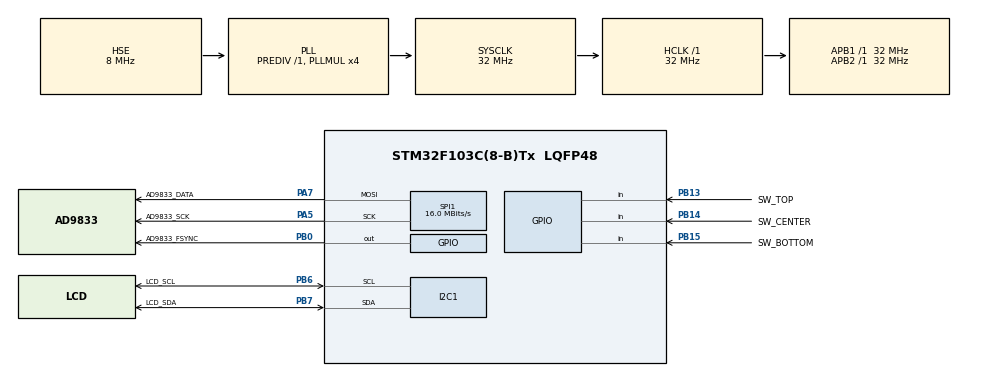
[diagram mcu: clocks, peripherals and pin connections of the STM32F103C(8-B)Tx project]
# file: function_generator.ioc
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Mcu.Family=STM32F1
Mcu.Name=STM32F103C(8-B)Tx
Mcu.Package=LQFP48
NVIC.PriorityGroup=NVIC_PRIORITYGROUP_4
PA13.Mode=Serial_Wire
PA13.Signal=SYS_JTMS-SWDIO
PA14.Mode=Serial_Wire
PA14.Signal=SYS_JTCK-SWCLK
PA5.GPIO_Label=AD9833_SCK
PA5.Mode=TX_Only_Simplex_Unidirect_Master
PA5.Signal=SPI1_SCK
PA7.GPIO_Label=AD9833_DATA
PA7.Mode=TX_Only_Simplex_Unidirect_Master
PA7.Signal=SPI1_MOSI
PB0.GPIO_Label=AD9833_FSYNC
PB0.Signal=GPIO_Output
PB13.GPIO_Label=SW_TOP
PB13.GPIO_PuPd=GPIO_NOPULL
PB13.Signal=GPIO_Input
PB14.GPIO_Label=SW_CENTER
PB14.GPIO_PuPd=GPIO_NOPULL
PB14.Signal=GPIO_Input
PB15.GPIO_Label=SW_BOTTOM
PB15.GPIO_PuPd=GPIO_NOPULL
PB15.Signal=GPIO_Input
PB6.GPIO_Label=LCD_SCL
PB6.GPIO_Pu=GPIO_PULLUP
PB6.Mode=I2C
PB6.Signal=I2C1_SCL
PB7.GPIO_Label=LCD_SDA
PB7.GPIO_Pu=GPIO_PULLUP
PB7.Mode=I2C
PB7.Signal=I2C1_SDA
PD0-OSC_IN.Mode=HSE-External-Oscillator
PD0-OSC_IN.Signal=RCC_OSC_IN
PD1-OSC_OUT.Mode=HSE-External-Oscillator
PD1-OSC_OUT.Signal=RCC_OSC_OUT
ProjectManager.HeapSize=0x200
ProjectManager.StackSize=0x400
ProjectManager.TargetToolchain=CMake
RCC.AHBFreq_Value=32000000
RCC.APB1Freq_Value=32000000
RCC.APB1TimFreq_Value=32000000
RCC.APB2Freq_Value=32000000
RCC.APB2TimFreq_Value=32000000
RCC.HCLKFreq_Value=32000000
RCC.PLLMUL=RCC_PLL_MUL4
RCC.PLLSourceVirtual=RCC_PLLSOURCE_HSE
RCC.SYSCLKFreq_VALUE=32000000
RCC.SYSCLKSource=RCC_SYSCLKSOURCE_PLLCLK
RCC.USBFreq_Value=32000000
SPI1.BaudRatePrescaler=SPI_BAUDRATEPRESCALER_2
SPI1.CLKPhase=SPI_PHASE_1EDGE
SPI1.CLKPolarity=SPI_POLARITY_HIGH
SPI1.CalculateBaudRate=16.0 MBits/s
SPI1.Direction=SPI_DIRECTION_2LINES
SPI1.Mode=SPI_MODE_MASTER
SPI1.VirtualType=VM_MASTER
board=custom

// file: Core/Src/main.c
/* USER CODE BEGIN Header */
/**
  ******************************************************************************
  * @file           : main.c
  * @brief          : Main program body
  ******************************************************************************
  * @attention
  *
  * <h2><center>&copy; Copyright (c) 2024 STMicroelectronics.
  * All rights reserved.</center></h2>
  *
  * This software component is licensed by ST under BSD 3-Clause license,
  * the "License"; You may not use this file except in compliance with the
  * License. You may obtain a copy of the License at:
  *                        opensource.org/licenses/BSD-3-Clause
  *
  ******************************************************************************
  */
/* USER CODE END Header */
#include "main.h"
#include "i2c.h"
#include "spi.h"
#include "gpio.h"

/* USER CODE BEGIN Includes */
#include <stdio.h>
#include <stdbool.h>
#include <string.h>
#include <math.h>
#include "ad9833.h"
#include "lcd.h"
/* USER CODE END Includes */

/* USER CODE BEGIN PTD */
typedef enum
{
    ST_HIGHLIGHT_WAVE = 0,
    ST_HIGHLIGHT_FREQ,
    ST_SELECT_WAVE,
    ST_SELECT_FREQ
}State;

typedef enum
{
    IDLE = 0,
    LONG_PRESS,
    QUICK_PRESS
}PressType;

typedef struct
{
    GPIO_TypeDef* port;
    GPIO_PinState old_state;
    uint16_t pin;
    uint32_t time_pressed;
    uint32_t debounce_delay;
}ButtonStruct;

/* USER CODE END PTD */

/* USER CODE BEGIN PD */
#define DEFAULT_FREQ    500 // Hz
#define MAX_FREQ_MHZ    10
#define WAVE_NAME_LEN   3
#define NUM_COLS        16
#define ROW_INACTIVE    "  "
#define ROW_HIGHLIGHT   "- "
#define ROW_SELECT      "->"
/* USER CODE END PD */

void SystemClock_Config(void);

/* USER CODE BEGIN 0 */

static bool Button_Debounce(ButtonStruct* button_ptr, GPIO_PinState expected_state)
{
    bool debounced = false;

    if(HAL_GPIO_ReadPin(button_ptr->port, button_ptr->pin) == expected_state)
    {
        HAL_Delay(button_ptr->debounce_delay);
        if(HAL_GPIO_ReadPin(button_ptr->port, button_ptr->pin) == expected_state)
        {
            debounced = true;
        }
    }
    return debounced;
}

static PressType Button_HandlePress(ButtonStruct* button_ptr)
{
    const uint32_t max_release_time = 350; // In milliseconds
    PressType return_value = IDLE;

    if(Button_Debounce(button_ptr, GPIO_PIN_RESET))
    {
        if(button_ptr->old_state == GPIO_PIN_SET)
        {
            button_ptr->old_state = GPIO_PIN_RESET;
            button_ptr->time_pressed = HAL_GetTick();
        }
        else
        {
            return_value = LONG_PRESS;
        }
    }
    else if(button_ptr->old_state == GPIO_PIN_RESET)
    {
        if(Button_Debounce(button_ptr, GPIO_PIN_SET))
        {
            button_ptr->old_state = GPIO_PIN_SET;
            if((HAL_GetTick() - button_ptr->time_pressed) < max_release_time)
            {
                return_value = QUICK_PRESS;
            }
        }
    }
    return return_value;
}

/* USER CODE END 0 */

int main(void)
{

  /* MCU Configuration--------------------------------------------------------*/

  /* Reset of all peripherals, Initializes the Flash interface and the Systick. */
  HAL_Init();

  /* Configure the system clock */
  SystemClock_Config();

  /* Initialize all configured peripherals */
  MX_GPIO_Init();
  MX_I2C1_Init();
  MX_SPI1_Init();
  /* USER CODE BEGIN 2 */

  State state = ST_HIGHLIGHT_WAVE;

  ButtonStruct top_button = {.debounce_delay = 25,
                             .old_state = GPIO_PIN_SET,
                             .pin = SW_TOP_Pin,
                             .port = SW_TOP_GPIO_Port,
                             .time_pressed = 0};

  ButtonStruct center_button = {.debounce_delay = 25,
                                .old_state = GPIO_PIN_SET,
                                .pin = SW_CENTER_Pin,
                                .port = SW_CENTER_GPIO_Port,
                                .time_pressed = 0};

  ButtonStruct bottom_button = {.debounce_delay = 25,
                                .old_state = GPIO_PIN_SET,
                                .pin = SW_BOTTOM_Pin,
                                .port = SW_BOTTOM_GPIO_Port,
                                .time_pressed = 0};

  const char space = ' ';
  char row1_buffer[NUM_COLS + 1] = "- WAVE:";
  char row2_buffer[NUM_COLS + 1] = "  FREQ:";

  // Starting points for data to be displayed on both LCD rows
  uint8_t row1_buffer_data_index = strlen(row1_buffer);
  uint8_t row2_buffer_data_index = strlen(row2_buffer);

  const char wave_names[3][WAVE_NAME_LEN + 1] = {"SIN", "SQR", "TRI"};
  const WaveDef waves[3] = {WAVE_SINE, WAVE_SQUARE, WAVE_TRIANGLE};
  uint8_t wave_select = 0;

  uint32_t frequency_Hz = DEFAULT_FREQ;
  uint32_t frequency_kHz = frequency_Hz  / 1000;
  uint32_t frequency_MHz = frequency_kHz / 1000;

  // Factor to speed up or slow down frequency increments/decrements
  uint8_t factor_select = 0;
  uint32_t factors[6] = {1, 10, 100, 1000, 10000, 100000};

  // String manipulation for LCD data display
  size_t freq_str_len = 0;
  char freq_str[11] = {0};
  sprintf(freq_str, "%ld.00%s", frequency_Hz, "Hz");

  // Preparing default content to be displayed on the LCD
  memset(row1_buffer + row1_buffer_data_index, space,
         NUM_COLS - row1_buffer_data_index);

  memcpy(row1_buffer + row1_buffer_data_index,
         wave_names[wave_select],
         WAVE_NAME_LEN);

  memcpy(row2_buffer + row2_buffer_data_index,
         freq_str,
         strlen(freq_str));

  // Hardware initializations
  LCD_Init();
  AD9833_Init(WAVE_SINE, frequency_Hz, 0);

  /* USER CODE END 2 */

  /* Infinite loop */
  /* USER CODE BEGIN WHILE */
  while (1)
  {
      switch(state)
      {
          case ST_HIGHLIGHT_WAVE:
              memcpy(row1_buffer, ROW_HIGHLIGHT, 2);
              memcpy(row2_buffer, ROW_INACTIVE,  2);

              if(Button_HandlePress(&center_button) == QUICK_PRESS)
              {
                  state = ST_SELECT_WAVE;
              }
              else if(Button_HandlePress(&bottom_button) == QUICK_PRESS)
              {
                  state = ST_HIGHLIGHT_FREQ;
              }
              break;

          case ST_HIGHLIGHT_FREQ:
              memcpy(row1_buffer, ROW_INACTIVE,  2);
              memcpy(row2_buffer, ROW_HIGHLIGHT, 2);

              if(Button_HandlePress(&center_button) == QUICK_PRESS)
              {
                  state = ST_SELECT_FREQ;
              }
              else if(Button_HandlePress(&top_button) == QUICK_PRESS)
              {
                  state = ST_HIGHLIGHT_WAVE;
              }
              break;

          case ST_SELECT_WAVE:
              memcpy(row1_buffer, ROW_SELECT,   2);
              memcpy(row2_buffer, ROW_INACTIVE, 2);

              if(Button_HandlePress(&center_button) == QUICK_PRESS)
              {
                  state = ST_HIGHLIGHT_WAVE;
              }
              else if(Button_HandlePress(&top_button) == QUICK_PRESS)
              {
                  if(wave_select == 2)
                  {
                      wave_select = 0;
                  }
                  else
                  {
                      wave_select++;
                  }
              }
              else if(Button_HandlePress(&bottom_button) == QUICK_PRESS)
              {
                  if(wave_select == 0)
                  {
                      wave_select = 2;
                  }
                  else
                  {
                      wave_select--;
                  }
              }

              AD9833_SetWaveform(waves[wave_select]);

              memcpy(row1_buffer + row1_buffer_data_index,
                     wave_names[wave_select],
                     WAVE_NAME_LEN);
              break;

          case ST_SELECT_FREQ:
              memcpy(row1_buffer, ROW_INACTIVE, 2);
              memcpy(row2_buffer, ROW_SELECT,   2);

              if(Button_HandlePress(&center_button) == QUICK_PRESS)
              {
                  state = ST_HIGHLIGHT_FREQ;
              }
              else
              {
                  PressType top_button_press = IDLE;
                  PressType bottom_button_press = IDLE;

                  top_button_press = Button_HandlePress(&top_button);
                  bottom_button_press = Button_HandlePress(&bottom_button);

                  switch(top_button_press)
                  {
                      case IDLE:
                          break;
                      case LONG_PRESS:
                          if(frequency_MHz != MAX_FREQ_MHZ)
                          {
                              frequency_Hz += factors[factor_select];
                          }
                          break;
                      case QUICK_PRESS:
                          if(factor_select != 5)
                          {
                              factor_select++;
                          }
                          break;
                  }

                  switch(bottom_button_press)
                  {
                      case IDLE:
                          break;
                      case LONG_PRESS:
                          if(frequency_Hz > factors[factor_select])
                          {
                              frequency_Hz -= factors[factor_select];
                          }
                          else
                          {
                              frequency_Hz = 0;
                          }
                          break;
                      case QUICK_PRESS:
                          if(factor_select != 0)
                          {
                              factor_select--;
                          }
                          break;
                  }
              }

              AD9833_SetFrequency(frequency_Hz);

              // Quotients
              frequency_kHz = frequency_Hz  / 1000;
              frequency_MHz = frequency_kHz / 1000;

              // Divide by 10 to allow 2 decimal point frequency display
              uint32_t remainder_kHz = lround((frequency_Hz  % 1000) / 10.0);
              uint32_t remainder_MHz = lround((frequency_kHz % 1000) / 10.0);

              if(frequency_Hz < 1000)
              {
                  sprintf(freq_str, "%ld.00%s", frequency_Hz, "Hz");
              }
              else if(frequency_kHz < 1000)
              {
                  if(remainder_kHz < 10)
                  {
                      sprintf(freq_str, "%ld.0%ld%s", frequency_kHz, remainder_kHz, "kHz");
                  }
                  else if(remainder_kHz >= 10 && remainder_kHz < 100)
                  {
                      sprintf(freq_str, "%ld.%ld%s", frequency_kHz, remainder_kHz, "kHz");
                  }
              }
              else if(frequency_MHz < 1000)
              {
                  if(remainder_MHz < 10)
                  {
                      sprintf(freq_str, "%ld.0%ld%s", frequency_MHz, remainder_MHz, "MHz");
                  }
                  else if(remainder_MHz >= 10 && remainder_MHz < 100)
                  {
                      sprintf(freq_str, "%ld.%ld%s", frequency_MHz, remainder_MHz, "MHz");
                  }
              }

              freq_str_len = strlen(freq_str);

              memset(row2_buffer + row2_buffer_data_index, space,
                     NUM_COLS - row2_buffer_data_index);

              memcpy(row2_buffer + row2_buffer_data_index, freq_str, freq_str_len);
              break;

          default:
              break;
      }

      // Last column of 1st row to show frequency update speed
      row1_buffer[NUM_COLS - 1] = factor_select + '0';

      LCD_SetCursor(0, 0);
      LCD_WriteString(row1_buffer);
      LCD_SetCursor(1, 0);
      LCD_WriteString(row2_buffer);

    /* USER CODE END WHILE */

  }
}

void SystemClock_Config(void)
{
  RCC_OscInitTypeDef RCC_OscInitStruct = {0};
  RCC_ClkInitTypeDef RCC_ClkInitStruct = {0};

  /** Initializes the RCC Oscillators according to the specified parameters
  * in the RCC_OscInitTypeDef structure.
  */
  RCC_OscInitStruct.OscillatorType = RCC_OSCILLATORTYPE_HSE;
  RCC_OscInitStruct.HSEState = RCC_HSE_ON;
  RCC_OscInitStruct.HSEPredivValue = RCC_HSE_PREDIV_DIV1;
  RCC_OscInitStruct.HSIState = RCC_HSI_ON;
  RCC_OscInitStruct.PLL.PLLState = RCC_PLL_ON;
  RCC_OscInitStruct.PLL.PLLSource = RCC_PLLSOURCE_HSE;
  RCC_OscInitStruct.PLL.PLLMUL = RCC_PLL_MUL4;
  if (HAL_RCC_OscConfig(&RCC_OscInitStruct) != HAL_OK)
  {
    Error_Handler();
  }

  /** Initializes the CPU, AHB and APB buses clocks
  */
  RCC_ClkInitStruct.ClockType = RCC_CLOCKTYPE_HCLK|RCC_CLOCKTYPE_SYSCLK
                              |RCC_CLOCKTYPE_PCLK1|RCC_CLOCKTYPE_PCLK2;
  RCC_ClkInitStruct.SYSCLKSource = RCC_SYSCLKSOURCE_PLLCLK;
  RCC_ClkInitStruct.AHBCLKDivider = RCC_SYSCLK_DIV1;
  RCC_ClkInitStruct.APB1CLKDivider = RCC_HCLK_DIV1;
  RCC_ClkInitStruct.APB2CLKDivider = RCC_HCLK_DIV1;

  if (HAL_RCC_ClockConfig(&RCC_ClkInitStruct, FLASH_LATENCY_1) != HAL_OK)
  {
    Error_Handler();
  }
}

void Error_Handler(void)
{
  __disable_irq();
  while (1)
  {
  }
}
